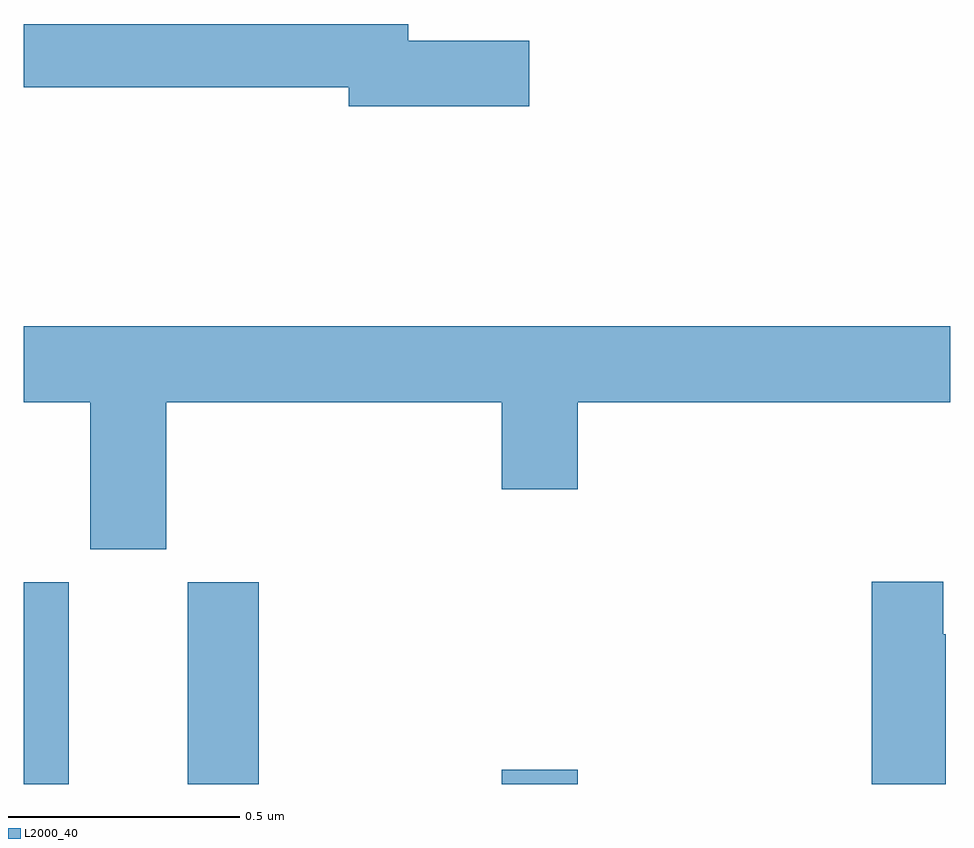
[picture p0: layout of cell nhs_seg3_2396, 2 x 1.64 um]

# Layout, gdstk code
import gdstk
lib = gdstk.Library(unit=1e-6, precision=1e-09)
def R(c, l, rs):  # rectangles x0, y0, x1, y1
    for r in rs: c.add(gdstk.rectangle(r[:2], r[2:], *l))
def P(c, l, *ps):  # polygons
    for p in ps: c.add(gdstk.Polygon(p, *l))
L2000_40 = (2000, 40)

nhs_seg3_2396 = lib.new_cell('nhs_seg3_2396')
R(nhs_seg3_2396, L2000_40, [(140,725.4,140.098,725.835), (140.354,725.4,140.507,725.835), (141.032,725.4,141.196,725.431)])
P(nhs_seg3_2396, L2000_40, [(141.091,727.004),(140.83,727.004),(140.83,727.04),(140,727.04),(140,726.904),(140.702,726.904),(140.702,726.862),(141.091,726.862)],
  [(140.308,726.224),(141.032,726.224),(141.032,726.036),(141.196,726.036),(141.196,726.224),(142,726.224),(142,726.388),(140,726.388),(140,726.224),(140.144,726.224),(140.144,725.907),(140.308,725.907)],
  [(141.99,725.723),(141.985,725.723),(141.985,725.836),(141.83,725.836),(141.83,725.4),(141.99,725.4)])

lib.write_gds('nhs_seg3_2396.gds')
